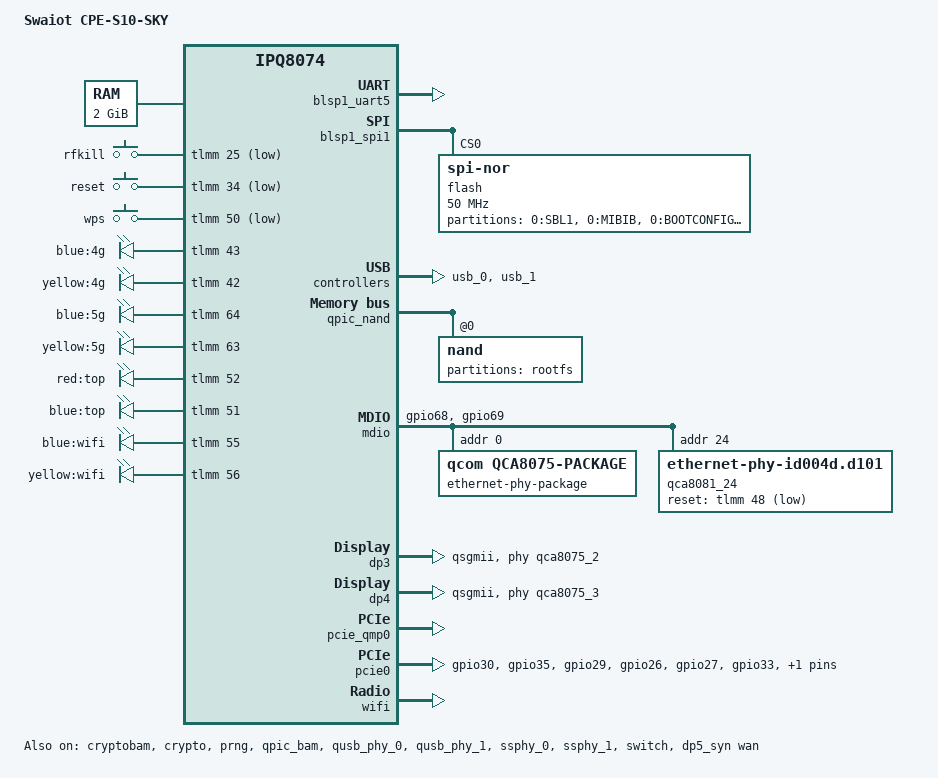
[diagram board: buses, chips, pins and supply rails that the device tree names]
// SPDX-License-Identifier: GPL-2.0-or-later OR MIT
/* Swaiot CPE-S10-SKY | LibWrt 6.12.94 V2 DTS */
/dts-v1/;
#include "ipq8074.dtsi"
#include "ipq8074-hk-cpu.dtsi"
#include "ipq8074-ess.dtsi"
#include "ipq8074-nss.dtsi"
#include <dt-bindings/gpio/gpio.h>
#include <dt-bindings/input/input.h>
#include <dt-bindings/leds/common.h>

/ {
	model = "Swaiot CPE-S10-SKY";
	compatible = "swaiot,cpe-s10-sky", "qcom,ipq8074-ap-ac02", "qcom,ipq8074";
	aliases {
		serial0 = &blsp1_uart5;
		ethernet0 = &dp5_syn;
		ethernet1 = &dp3;
		ethernet2 = &dp4;
		led-boot     = &led_top_blue;
		led-failsafe = &led_top_red;
		led-running  = &led_top_blue;
		led-upgrade  = &led_top_red;
		label-mac-device = &dp5_syn;
	};
	chosen {
		stdout-path = "serial0:115200n8";
		bootargs-append = "root=/dev/ubiblock0_1 swiotlb=1 coherent_pool=2M";	
        };
	memory@40000000 {
		device_type = "memory";
		reg = <0x0 0x40000000 0x0 0x80000000>;
	};

	keys {
		compatible = "gpio-keys";
		pinctrl-0 = <&button_pins>;
		pinctrl-names = "default";
		rfkill {
			label = "rfkill";
			linux,code = <KEY_RFKILL>;
			gpios = <&tlmm 25 GPIO_ACTIVE_LOW>;
			debounce-interval = <60>;
		};
		reset {
			label = "reset";
			linux,code = <KEY_RESTART>;
			gpios = <&tlmm 34 GPIO_ACTIVE_LOW>;
			debounce-interval = <60>;
		};
		wps {
			label = "wps";
			linux,code = <KEY_WPS_BUTTON>;
			gpios = <&tlmm 50 GPIO_ACTIVE_LOW>;
			debounce-interval = <60>;
		};
	};

	leds {
		compatible = "gpio-leds";
		pinctrl-0 = <&led_pins>;
		pinctrl-names = "default";
		led_4g_blue:   4g-blue   { label = "blue:4g";     gpios = <&tlmm 43 GPIO_ACTIVE_HIGH>; };
		led_4g_yellow: 4g-yellow { label = "yellow:4g";   gpios = <&tlmm 42 GPIO_ACTIVE_HIGH>; };
		led_5g_blue:   5g-blue   { label = "blue:5g";     gpios = <&tlmm 64 GPIO_ACTIVE_HIGH>; };
		led_5g_yellow: 5g-yellow { label = "yellow:5g";   gpios = <&tlmm 63 GPIO_ACTIVE_HIGH>; };
		led_top_red:   top-red   { label = "red:top";     gpios = <&tlmm 52 GPIO_ACTIVE_HIGH>; };
		led_top_blue:  top-blue  {
			label = "blue:top";
			gpios = <&tlmm 51 GPIO_ACTIVE_HIGH>;
			default-state = "on";
		};
		led_wifi_blue:   wifi-blue   { label = "blue:wifi";   gpios = <&tlmm 55 GPIO_ACTIVE_HIGH>; };
		led_wifi_yellow: wifi-yellow { label = "yellow:wifi"; gpios = <&tlmm 56 GPIO_ACTIVE_HIGH>; };
	};
};

&tlmm {
	button_pins: button-pins {
		pins = "gpio25", "gpio34", "gpio50";
		function = "gpio";
		drive-strength = <8>;
		bias-pull-up;
	};
	led_pins: led-pins {
		pins = "gpio42", "gpio43", "gpio51", "gpio52",
		       "gpio55", "gpio56", "gpio63", "gpio64";
		function = "gpio";
		drive-strength = <8>;
		bias-pull-down;
	};
	mdio_pins: mdio-pins {
		mdc {
			pins = "gpio68";
			function = "mdc";
			drive-strength = <8>;
			bias-pull-up;
		};
		mdio {
			pins = "gpio69";
			function = "mdio";
			drive-strength = <8>;
			bias-pull-up;
		};
	};

	/* ====== SDX 5G模组 GPIO 定义 ====== */
	pcie0_wake_pins: pcie0-wake-pins {
		pins = "gpio59";
		function = "pcie0_wake";
		drive-strength = <8>;
		bias-pull-down;
	};
	pcie0_sdx_pins: pcie0-sdx-pins {
		sdx_pon {
			pins = "gpio30", "gpio35";
			function = "gpio";
			drive-strength = <8>;
			bias-pull-up;
			output-high;
		};
		ap2mdm_gp_rst_n {
			pins = "gpio29";
			function = "gpio";
			drive-strength = <8>;
			output-high;
		};
		ap2mdm_status {
			pins = "gpio26";
			function = "gpio";
			drive-strength = <8>;
			bias-pull-up;
			output-high;
		};
		ap2mdm_err_ftl {
			pins = "gpio27";
			function = "gpio";
			drive-strength = <8>;
			bias-pull-down;
		};
		mdm2ap_err_ftl {
			pins = "gpio33";
			function = "gpio";
			drive-strength = <8>;
			bias-pull-down;
		};
	};
};

&blsp1_uart3 { status = "disabled"; };
&blsp1_uart5 { status = "okay"; };
&cryptobam { status = "okay"; };
&crypto    { status = "okay"; };
&prng      { status = "okay"; };
&qpic_bam  { status = "okay"; };

&blsp1_spi1 {
	status = "okay";
	pinctrl-0 = <&spi_0_pins_s10>;
	pinctrl-names = "default";
	cs-select = <0>;
	flash@0 {
		compatible = "jedec,spi-nor";
		reg = <0>;
		spi-max-frequency = <50000000>;
		partitions {
			compatible = "fixed-partitions";
			#address-cells = <1>;
			#size-cells = <1>;
			partition@0      { label = "0:SBL1";        reg = <0x000000 0x050000>; read-only; };
			partition@50000  { label = "0:MIBIB";       reg = <0x050000 0x010000>; read-only; };
			partition@60000  { label = "0:BOOTCONFIG";  reg = <0x060000 0x020000>; read-only; };
			partition@80000  { label = "0:BOOTCONFIG1"; reg = <0x080000 0x020000>; read-only; };
			partition@a0000  { label = "0:QSEE";        reg = <0x0a0000 0x180000>; read-only; };
			partition@220000 { label = "0:QSEE_1";      reg = <0x220000 0x180000>; read-only; };
			partition@3a0000 { label = "0:DEVCFG";      reg = <0x3a0000 0x010000>; read-only; };
			partition@3b0000 { label = "0:DEVCFG_1";    reg = <0x3b0000 0x010000>; read-only; };
			partition@3c0000 { label = "0:APDP";        reg = <0x3c0000 0x010000>; read-only; };
			partition@3d0000 { label = "0:APDP_1";      reg = <0x3d0000 0x010000>; read-only; };
			partition@3e0000 { label = "0:RPM";         reg = <0x3e0000 0x040000>; read-only; };
			partition@420000 { label = "0:RPM_1";       reg = <0x420000 0x040000>; read-only; };
			partition@460000 { label = "0:CDT";         reg = <0x460000 0x010000>; read-only; };
			partition@470000 { label = "0:CDT_1";       reg = <0x470000 0x010000>; read-only; };
			partition@480000 { label = "0:APPSBLENV";   reg = <0x480000 0x010000>; };
			partition@490000 { label = "0:APPSBL";      reg = <0x490000 0x0a0000>; read-only; };
			partition@530000 { label = "0:APPSBL_1";    reg = <0x530000 0x0a0000>; read-only; };
			partition@5d0000 {
				label = "0:ART";
				reg = <0x5d0000 0x040000>;
				read-only;
				nvmem-layout {
					compatible = "fixed-layout";
					#address-cells = <1>;
					#size-cells = <1>;
					precal_art_1000: precal@1000 {
						reg = <0x1000 0x2f20>;
					};
					macaddr_lan1:   macaddr@1002 { reg = <0x1002 0x6>; };
					macaddr_wan:    macaddr@100e { reg = <0x100e 0x6>; };
					macaddr_wifi5:  macaddr@1014 { reg = <0x1014 0x6>; };
					macaddr_wifi24: macaddr@101a { reg = <0x101a 0x6>; };
				};
			};
			partition@610000 { label = "0:ETHPHYFW";    reg = <0x610000 0x080000>; read-only; };
			partition@690000 { label = "ledeinfo";      reg = <0x690000 0x010000>; };
			partition@6a0000 { label = "reserve";       reg = <0x6a0000 0x010000>; };
		};
	};
};

&qusb_phy_0 { status = "okay"; };
&qusb_phy_1 { status = "okay"; };
&ssphy_0 { status = "okay"; };
&ssphy_1 { status = "okay"; };
&usb_0 { status = "okay"; };
&usb_1 { status = "okay"; };

&qpic_nand {
	status = "okay";
	nand@0 {
		reg = <0>;
		nand-bus-width = <8>;
		nand-ecc-strength = <8>;
		nand-ecc-step-size = <512>;
		partitions {
			compatible = "fixed-partitions";
			#address-cells = <1>;
			#size-cells = <1>;
			partition@0 {
				label = "rootfs";
				reg = <0x00000000 0x0fa00000>;
			};
		};
	};
};

&mdio {
	status = "okay";
	pinctrl-0 = <&mdio_pins>;
	pinctrl-names = "default";
	ethernet-phy-package@0 {
		compatible = "qcom,qca8075-package";
		#address-cells = <1>;
		#size-cells = <0>;
		reg = <0>;
		qcom,package-mode = "qsgmii";

		qca8075_0: ethernet-phy@0 {
			compatible = "ethernet-phy-ieee802.3-c22";
			reg = <0>;
		};
		qca8075_1: ethernet-phy@1 {
			compatible = "ethernet-phy-ieee802.3-c22";
			reg = <1>;
		};
		qca8075_2: ethernet-phy@2 {
			compatible = "ethernet-phy-ieee802.3-c22";
			reg = <2>;
		};
		qca8075_3: ethernet-phy@3 {
			compatible = "ethernet-phy-ieee802.3-c22";
			reg = <3>;
		};
	};
	qca8081_24: ethernet-phy@24 {
		compatible = "ethernet-phy-id004d.d101";
		reg = <24>;
		reset-assert-us = <100000>;
		reset-deassert-us = <500000>;
		reset-gpios = <&tlmm 48 GPIO_ACTIVE_LOW>;
		qcom,phy-led-mode = <1>;
	};
};

&switch {
	status = "okay";
	switch_lan_bmp = <(ESS_PORT3 | ESS_PORT4)>;
	switch_wan_bmp = <ESS_PORT5>;
	switch_mac_mode = <MAC_MODE_QSGMII>;
	switch_mac_mode1 = <MAC_MODE_SGMII_PLUS>;
	switch_mac_mode2 = <MAC_MODE_SGMII_PLUS>;
	qcom,port_phyinfo {
		port@3 {
			port_id = <3>;
			phy_address = <2>;
		};
		port@4 {
			port_id = <4>;
			phy_address = <3>;
		};
		port@5 {
			port_id = <5>;
			phy_address = <24>;
			port_mac_sel = "QGMAC_PORT";
		};
	};
};

&edma {
	status = "okay";
};

&dp1 { status = "disabled"; };
&dp2 { status = "disabled"; };
&dp3 {
	status = "okay";
	phy-mode = "qsgmii";
	phy-handle = <&qca8075_2>;
	label = "lan1";
	nvmem-cells = <&macaddr_lan1>;
	nvmem-cell-names = "mac-address";
};
&dp4 {
	status = "okay";
	phy-mode = "qsgmii";
	phy-handle = <&qca8075_3>;
	label = "lan2";
	nvmem-cells = <&macaddr_lan1>;
	nvmem-cell-names = "mac-address";
	mac-address-increment = <1>;
};
&dp5_syn {
	status = "okay";
	phy-mode = "usxgmii";
	phy-handle = <&qca8081_24>;
	label = "wan";
	nvmem-cells = <&macaddr_wan>;
	nvmem-cell-names = "mac-address";
};

&pcie_qmp0 {
	status = "okay";
};
&pcie0 {
	status = "okay";
	pinctrl-0 = <&pcie0_sdx_pins>, <&pcie0_wake_pins>;
	pinctrl-names = "default";
	perst-gpios = <&tlmm 58 GPIO_ACTIVE_LOW>;
};

&pcie_qmp1 {
	status = "disabled";
};
&pcie1 {
	status = "disabled";
};

&wifi {
	status = "okay";
	qcom,board-id = <0xff 0x0>;
	nvmem-cell-names = "caldata";
	nvmem-cells = <&precal_art_1000>;
};
